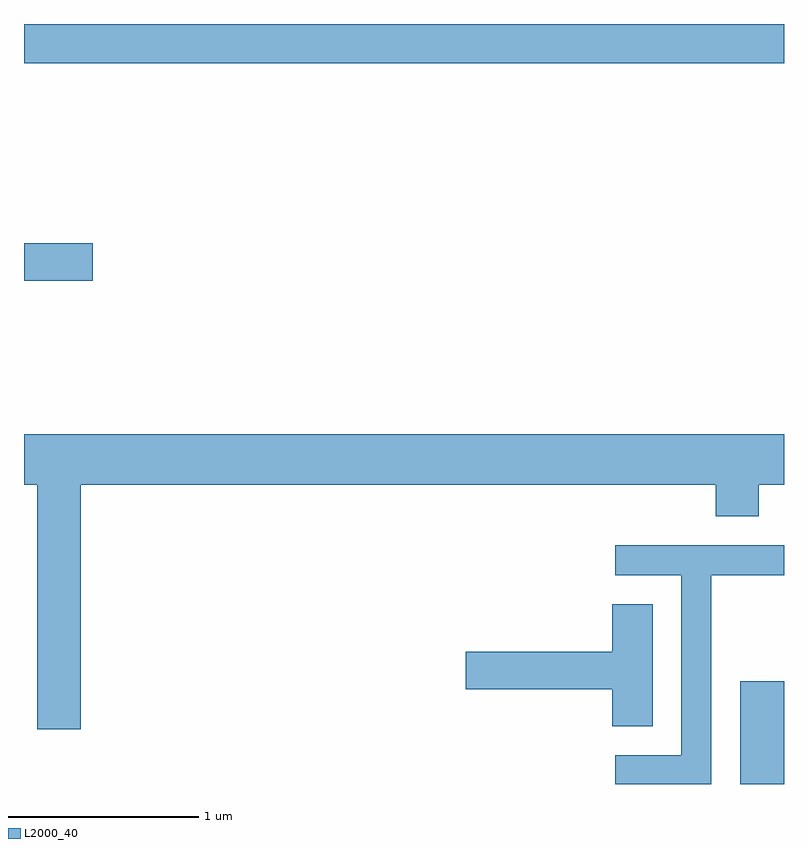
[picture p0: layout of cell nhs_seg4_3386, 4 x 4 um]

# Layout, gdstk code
import gdstk
lib = gdstk.Library(unit=1e-6, precision=1e-09)
def R(c, l, rs):  # rectangles x0, y0, x1, y1
    for r in rs: c.add(gdstk.rectangle(r[:2], r[2:], *l))
def P(c, l, *ps):  # polygons
    for p in ps: c.add(gdstk.Polygon(p, *l))
L2000_40 = (2000, 40)

nhs_seg4_3386 = lib.new_cell('nhs_seg4_3386')
R(nhs_seg4_3386, L2000_40, [(287.381,1361.982,287.611,1362.524), (283.611,1364.631,283.974,1364.829), (283.611,1365.776,287.611,1365.982)])
P(nhs_seg4_3386, L2000_40, [(283.611,1363.556),(283.681,1363.556),(283.681,1362.271),(283.909,1362.271),(283.909,1363.556),(287.251,1363.556),(287.251,1363.391),(287.479,1363.391),(287.479,1363.556),(287.611,1363.556),(287.611,1363.824),(283.611,1363.824)],
  [(287.229,1363.081),(287.611,1363.081),(287.611,1363.239),(286.723,1363.239),(286.723,1363.081),(287.071,1363.081),(287.071,1362.134),(286.723,1362.134),(286.723,1361.982),(287.229,1361.982)],
  [(286.919,1362.929),(286.706,1362.929),(286.706,1362.679),(285.936,1362.679),(285.936,1362.481),(286.706,1362.481),(286.706,1362.286),(286.919,1362.286)])

lib.write_gds('nhs_seg4_3386.gds')
